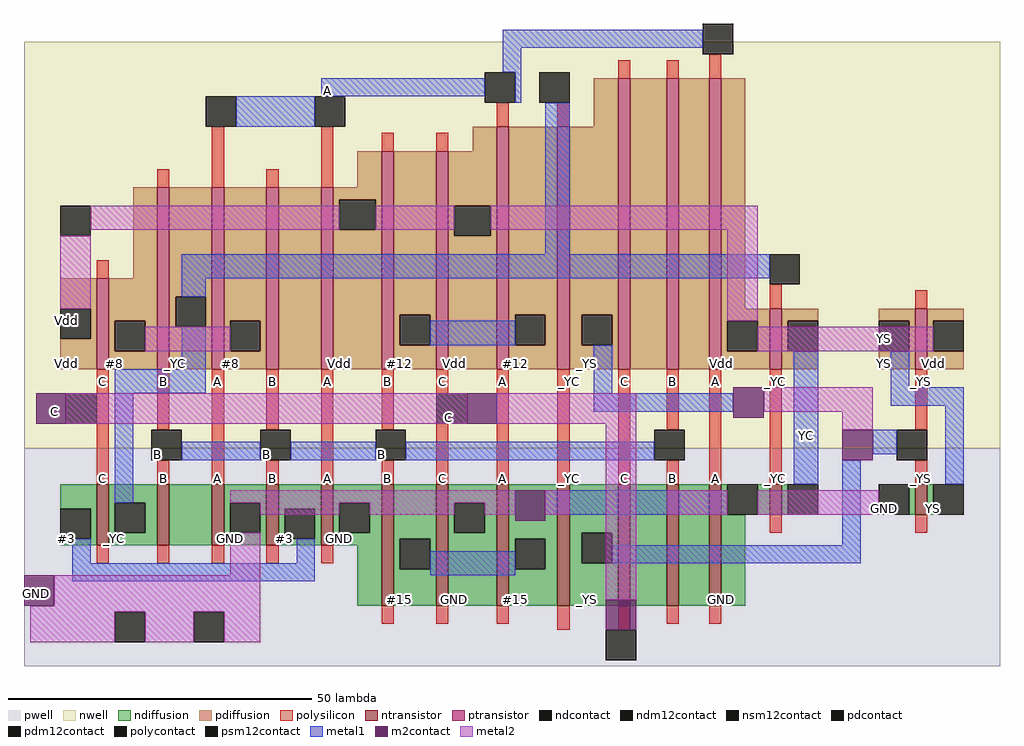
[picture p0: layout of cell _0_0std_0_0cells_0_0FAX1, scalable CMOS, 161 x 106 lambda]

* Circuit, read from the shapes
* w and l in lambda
.subckt _0_0std_0_0cells_0_0FAX1 GND Vdd C YS B YC A
M1 _YC C #3 GND nfet w=10 l=2
M2 n1 B _YC GND nfet w=10 l=2
M3 GND A n1 GND nfet w=10 l=2
M4 #3 B GND GND nfet w=10 l=2
M5 GND A #3 GND nfet w=10 l=2
M6 #15 B GND GND nfet w=20 l=2
M7 GND C #15 GND nfet w=20 l=2
M8 #15 A GND GND nfet w=20 l=2
M9 _YS _YC #15 GND nfet w=20 l=2
M10 n2 C _YS GND nfet w=20 l=2
M11 n3 B n2 GND nfet w=20 l=2
M12 GND A n3 GND nfet w=20 l=2
M13 YC _YC GND GND nfet w=5 l=2
M14 YS _YS GND GND nfet w=5 l=2
M15 #8 C Vdd Vdd pfet w=15 l=2
M16 _YC B #8 Vdd pfet w=30 l=2
M17 #8 A _YC Vdd pfet w=30 l=2
M18 n4 B #8 Vdd pfet w=30 l=2
M19 Vdd A n4 Vdd pfet w=30 l=2
M20 #12 B Vdd Vdd pfet w=36 l=2
M21 Vdd C #12 Vdd pfet w=36 l=2
M22 #12 A Vdd Vdd pfet w=40 l=2
M23 _YS _YC #12 Vdd pfet w=40 l=2
M24 n5 C _YS Vdd pfet w=48 l=2
M25 n6 B n5 Vdd pfet w=48 l=2
M26 Vdd A n6 Vdd pfet w=48 l=2
M27 YC _YC Vdd Vdd pfet w=10 l=2
M28 Vdd _YS YS Vdd pfet w=10 l=2
.ends

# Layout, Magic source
magic
tech scmos
<< nwell >>
rect 81 103 114 105
rect 2 36 163 103
<< pwell >>
rect 2 0 163 36
<< ntransistor >>
rect 14 20 16 30
rect 24 20 26 30
rect 33 20 35 30
rect 42 20 44 30
rect 51 20 53 30
rect 61 10 63 30
rect 70 10 72 30
rect 80 10 82 30
rect 90 10 92 30
rect 100 10 102 30
rect 108 10 110 30
rect 115 10 117 30
rect 125 25 127 30
rect 149 25 151 30
<< ptransistor >>
rect 14 49 16 64
rect 24 49 26 79
rect 33 49 35 79
rect 42 49 44 79
rect 51 49 53 79
rect 61 49 63 85
rect 70 49 72 85
rect 80 49 82 89
rect 90 49 92 89
rect 100 49 102 97
rect 108 49 110 97
rect 115 49 117 97
rect 125 49 127 59
rect 149 49 151 59
<< ndiffusion >>
rect 8 26 14 30
rect 13 21 14 26
rect 8 20 14 21
rect 16 27 24 30
rect 16 22 17 27
rect 22 22 24 27
rect 16 20 24 22
rect 26 20 33 30
rect 35 27 42 30
rect 35 22 36 27
rect 41 22 42 27
rect 35 20 42 22
rect 44 26 51 30
rect 44 21 45 26
rect 50 21 51 26
rect 44 20 51 21
rect 53 27 61 30
rect 53 22 54 27
rect 59 22 61 27
rect 53 20 61 22
rect 57 10 61 20
rect 63 21 70 30
rect 63 16 64 21
rect 69 16 70 21
rect 63 10 70 16
rect 72 27 80 30
rect 72 22 73 27
rect 78 22 80 27
rect 72 10 80 22
rect 82 21 90 30
rect 82 16 83 21
rect 88 16 90 21
rect 82 10 90 16
rect 92 22 100 30
rect 92 17 94 22
rect 99 17 100 22
rect 92 10 100 17
rect 102 10 108 30
rect 110 10 115 30
rect 117 25 118 30
rect 123 25 125 30
rect 127 25 128 30
rect 148 25 149 30
rect 151 25 152 30
rect 117 10 121 25
<< pdiffusion >>
rect 96 89 100 97
rect 76 85 80 89
rect 57 79 61 85
rect 20 64 24 79
rect 8 59 14 64
rect 13 54 14 59
rect 8 49 14 54
rect 16 57 24 64
rect 16 52 17 57
rect 22 52 24 57
rect 16 49 24 52
rect 26 61 33 79
rect 26 56 27 61
rect 32 56 33 61
rect 26 49 33 56
rect 35 57 42 79
rect 35 52 36 57
rect 41 52 42 57
rect 35 49 42 52
rect 44 49 51 79
rect 53 77 61 79
rect 53 72 54 77
rect 60 72 61 77
rect 53 49 61 72
rect 63 58 70 85
rect 63 53 64 58
rect 69 53 70 58
rect 63 49 70 53
rect 72 76 80 85
rect 72 71 73 76
rect 79 71 80 76
rect 72 49 80 71
rect 82 58 90 89
rect 82 53 83 58
rect 88 53 90 58
rect 82 49 90 53
rect 92 58 100 89
rect 92 53 94 58
rect 99 53 100 58
rect 92 49 100 53
rect 102 49 108 97
rect 110 49 115 97
rect 117 59 121 97
rect 117 57 125 59
rect 117 52 118 57
rect 123 52 125 57
rect 117 49 125 52
rect 127 57 133 59
rect 127 52 128 57
rect 127 49 133 52
rect 143 57 149 59
rect 148 52 149 57
rect 143 49 149 52
rect 151 57 157 59
rect 151 52 152 57
rect 151 49 157 52
<< ndcontact >>
rect 8 21 13 26
rect 17 22 22 27
rect 45 21 50 26
rect 64 16 69 21
rect 83 16 88 21
rect 94 17 99 22
rect 128 25 133 30
rect 152 25 157 30
<< pdcontact >>
rect 27 56 32 61
rect 64 53 69 58
rect 83 53 88 58
rect 94 53 99 58
rect 128 52 133 57
rect 143 52 148 57
<< polysilicon >>
rect 100 97 102 100
rect 108 97 110 100
rect 115 97 117 101
rect 80 89 82 93
rect 90 89 92 93
rect 24 79 26 82
rect 33 79 35 89
rect 42 79 44 82
rect 51 79 53 89
rect 61 85 63 88
rect 70 85 72 88
rect 14 64 16 67
rect 125 59 127 63
rect 149 59 151 62
rect 14 30 16 49
rect 24 39 26 49
rect 24 30 26 34
rect 33 30 35 49
rect 42 39 44 49
rect 42 30 44 34
rect 51 30 53 49
rect 61 39 63 49
rect 70 45 72 49
rect 61 30 63 34
rect 70 30 72 40
rect 80 30 82 49
rect 90 30 92 49
rect 100 30 102 49
rect 108 39 110 49
rect 108 30 110 34
rect 115 30 117 49
rect 125 30 127 49
rect 149 39 151 49
rect 149 30 151 34
rect 14 17 16 20
rect 24 17 26 20
rect 33 17 35 20
rect 42 17 44 20
rect 51 17 53 20
rect 125 22 127 25
rect 149 22 151 25
rect 61 7 63 10
rect 70 7 72 10
rect 80 7 82 10
rect 90 6 92 10
rect 100 6 102 10
rect 108 7 110 10
rect 115 7 117 10
<< polycontact >>
rect 114 101 119 106
rect 32 89 37 94
rect 50 89 55 94
rect 78 93 83 98
rect 87 93 92 98
rect 125 63 130 68
rect 9 40 14 45
rect 23 34 28 39
rect 41 34 46 39
rect 70 40 75 45
rect 60 34 65 39
rect 106 34 111 39
rect 146 34 151 39
rect 98 1 103 6
<< metal1 >>
rect 81 102 114 105
rect 81 98 84 102
rect 51 94 78 97
rect 37 89 50 94
rect 83 93 84 98
rect 88 68 92 93
rect 28 64 125 68
rect 28 61 32 64
rect 28 49 32 56
rect 69 53 83 57
rect 17 45 32 49
rect 96 45 99 53
rect 17 27 20 45
rect 96 42 119 45
rect 28 34 41 37
rect 46 34 60 37
rect 65 34 106 37
rect 129 30 133 52
rect 145 46 148 52
rect 145 43 157 46
rect 88 25 118 29
rect 142 35 146 39
rect 10 17 13 21
rect 47 17 50 21
rect 10 14 50 17
rect 69 15 83 19
rect 137 20 140 34
rect 154 30 157 43
rect 99 17 140 20
<< m2contact >>
rect 4 40 9 45
rect 75 40 80 45
rect 119 41 124 46
rect 83 24 88 29
rect 137 34 142 39
rect 2 10 7 15
rect 98 6 103 11
<< pdm12contact >>
rect 54 72 60 77
rect 73 71 79 76
rect 8 54 13 59
rect 17 52 22 57
rect 36 52 41 57
rect 118 52 123 57
rect 152 52 157 57
<< psm12contact >>
rect 17 4 22 9
rect 30 4 35 9
<< ndm12contact >>
rect 36 22 41 27
rect 54 22 59 27
rect 73 22 78 27
rect 118 25 123 30
rect 143 25 148 30
<< nsm12contact >>
rect 8 71 13 76
<< metal2 >>
rect 13 72 54 76
rect 60 72 73 76
rect 79 72 123 76
rect 8 59 13 71
rect 118 57 123 72
rect 22 52 36 56
rect 123 52 152 56
rect 9 40 75 45
rect 80 40 103 45
rect 124 42 142 46
rect 36 27 83 29
rect 41 25 54 27
rect 59 25 73 27
rect 78 25 83 27
rect 88 25 92 29
rect 36 15 41 22
rect 7 10 41 15
rect 3 9 41 10
rect 3 4 17 9
rect 22 4 30 9
rect 35 4 41 9
rect 98 11 103 40
rect 137 39 142 42
rect 108 25 118 29
rect 123 25 143 29
<< labels >>
rlabel polysilicon 81 31 81 31 3 A
rlabel polysilicon 71 31 71 31 3 C
rlabel polysilicon 62 31 62 31 3 B
rlabel ndiffusion 54 21 54 21 3 GND
rlabel polysilicon 52 31 52 31 3 A
rlabel ndiffusion 83 11 83 11 3 #15
rlabel ndiffusion 45 21 45 21 3 #3
rlabel polysilicon 43 31 43 31 3 B
rlabel ndiffusion 73 11 73 11 3 GND
rlabel ndiffusion 36 21 36 21 3 GND
rlabel polysilicon 34 31 34 31 3 A
rlabel ndiffusion 64 11 64 11 3 #15
rlabel polysilicon 25 31 25 31 3 B
rlabel polysilicon 15 31 15 31 3 C
rlabel ndiffusion 9 21 9 21 3 #3
rlabel polycontact 24 35 24 35 3 B
port 5 e
rlabel polycontact 42 35 42 35 3 B
port 5 e
rlabel polycontact 61 35 61 35 3 B
port 5 e
rlabel polysilicon 62 47 62 47 3 B
rlabel metal1 52 95 52 95 3 A
port 7 e
rlabel polysilicon 52 47 52 47 3 A
rlabel pdiffusion 9 50 9 50 3 Vdd
rlabel polysilicon 15 47 15 47 3 C
rlabel pdiffusion 17 50 17 50 3 #8
rlabel polysilicon 25 47 25 47 3 B
rlabel polysilicon 34 47 34 47 3 A
rlabel pdiffusion 36 50 36 50 3 #8
rlabel polysilicon 43 47 43 47 3 B
rlabel pdiffusion 54 50 54 50 3 Vdd
rlabel pdiffusion 64 50 64 50 3 #12
rlabel polysilicon 71 47 71 47 3 C
rlabel pdiffusion 73 50 73 50 3 Vdd
rlabel polysilicon 81 47 81 47 3 A
rlabel pdiffusion 83 50 83 50 3 #12
rlabel m2contact 7 42 7 42 3 C
port 3 e
rlabel pdm12contact 9 57 9 57 3 Vdd
port 2 e
rlabel pdiffusion 27 50 27 50 3 _YC
rlabel ndiffusion 17 21 17 21 3 _YC
rlabel polysilicon 109 31 109 31 3 B
rlabel ndiffusion 117 11 117 11 3 GND
rlabel polysilicon 116 31 116 31 3 A
rlabel polysilicon 101 31 101 31 3 C
rlabel pdiffusion 117 50 117 50 3 Vdd
rlabel polysilicon 116 47 116 47 3 A
rlabel polysilicon 109 47 109 47 3 B
rlabel polysilicon 101 47 101 47 3 C
rlabel polysilicon 126 47 126 47 3 _YC
rlabel polysilicon 126 31 126 31 3 _YC
rlabel polysilicon 92 47 92 47 3 _YC
rlabel polysilicon 92 31 92 31 3 _YC
rlabel pdiffusion 95 50 95 50 3 _YS
rlabel ndiffusion 95 11 95 11 3 _YS
rlabel ndiffusion 152 26 152 26 3 YS
rlabel pdiffusion 152 50 152 50 3 Vdd
rlabel pdiffusion 144 50 144 50 3 YS
rlabel ndm12contact 144 26 144 26 3 GND
rlabel pdcontact 144 54 144 54 3 YS
port 4 e
rlabel polysilicon 150 47 150 47 3 _YS
rlabel polysilicon 150 31 150 31 3 _YS
rlabel metal1 131 38 131 38 3 YC
port 6 e
rlabel m2contact 4 12 4 12 3 GND
port 1 e
rlabel polycontact 72 41 72 41 3 C
port 3 e
<< end >>
